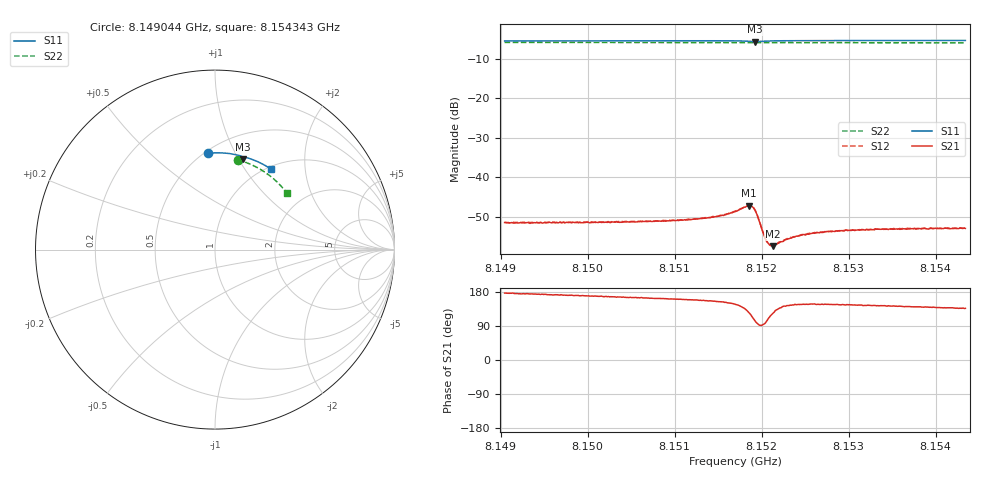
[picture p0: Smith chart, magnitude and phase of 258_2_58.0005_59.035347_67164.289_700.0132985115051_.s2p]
#  HZ  S  RI  R  50.00
! Rohde & Schwarz Vector Network Analyzer
! Rohde-Schwarz,ZNB20-2Port,1311601062101988,3.16
! Created: UTC 3/21/2024, 1:01:51 AM
! freq[Hz]  re:S11  im:S11  re:S21  im:S21  re:S12  im:S12  re:S22  im:S22
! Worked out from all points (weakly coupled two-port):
!   401 points, 8.149044 GHz to 8.154343 GHz, reference 50 ohm
!   highest |S21| = -47.27 dB at 8.151853 GHz (marker M1); lowest = -57.5 dB at 8.152131 GHz (marker M2)
!   lowest |S11| = -5.5 dB at 8.151919 GHz (marker M3), VSWR 3.24, Z = 37.3 + j52.3 ohm
!   |S11| at or under -10 dB: nowhere
!   |S22| runs from -5.9 to -5.7 dB; largest |S21 - S12| = 0.00011
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8.1490444e9  -0.0372 0.5368  -0.00265 0.000158  -0.00264 0.000189  0.1258 0.5004
8.1499319e9  0.0248 0.5391  -0.00261 0.000467  -0.00264 0.000528  0.1807 0.4822
8.1508194e9  0.0869 0.534  -0.00264 0.00082  -0.00265 0.000875  0.233 0.4582
8.1511771e9  0.1119 0.5299  -0.0027 0.00104  -0.00268 0.00109  0.253 0.4469
8.1514023e9  0.128 0.5263  -0.0028 0.00123  -0.0028 0.00129  0.2655 0.4392
8.1515877e9  0.1418 0.5223  -0.00295 0.00155  -0.00296 0.00165  0.2755 0.4327
8.1516937e9  0.1497 0.5189  -0.00306 0.00197  -0.00308 0.00204  0.2811 0.4289
8.1518527e9  0.1593 0.5085  -0.0025 0.00353  -0.0025 0.0036  0.2894 0.4228
8.1518924e9  0.1583 0.5054  -0.00167 0.00387  -0.00163 0.00389  0.2911 0.4213
8.1519189e9  0.1568 0.5048  -0.00101 0.00375  -0.000938 0.00381  0.2925 0.4204
8.1519587e9  0.1552 0.5067  -0.000253 0.00308  -0.000205 0.00307  0.2944 0.4189
8.1520249e9  0.1581 0.5112  -0.000148 0.00189  -0.000117 0.00187  0.2978 0.4168
8.1520514e9  0.1602 0.5122  -0.000281 0.00155  -0.000259 0.00155  0.2992 0.4157
8.1520779e9  0.1626 0.5128  -0.000484 0.00136  -0.000469 0.00136  0.3008 0.4147
8.1521044e9  0.1649 0.5131  -0.000623 0.0012  -0.00064 0.00124  0.3021 0.4138
8.1521309e9  0.1674 0.5131  -0.000734 0.00111  -0.00074 0.00114  0.3034 0.4127
8.1523031e9  0.1812 0.5109  -0.00133 0.000983  -0.00131 0.000998  0.3123 0.4061
8.1523693e9  0.1861 0.5096  -0.00142 0.000985  -0.00144 0.00101  0.3156 0.4034
8.1525813e9  0.2008 0.5049  -0.00163 0.00104  -0.00162 0.00105  0.326 0.3944
8.1529787e9  0.2272 0.4946  -0.00177 0.00119  -0.00175 0.00118  0.3448 0.3775
8.1534688e9  0.2582 0.48  -0.00174 0.00133  -0.00174 0.00137  0.3669 0.3553
8.1543431e9  0.3105 0.4495  -0.00161 0.00155  -0.0016 0.0016  0.4022 0.3127
